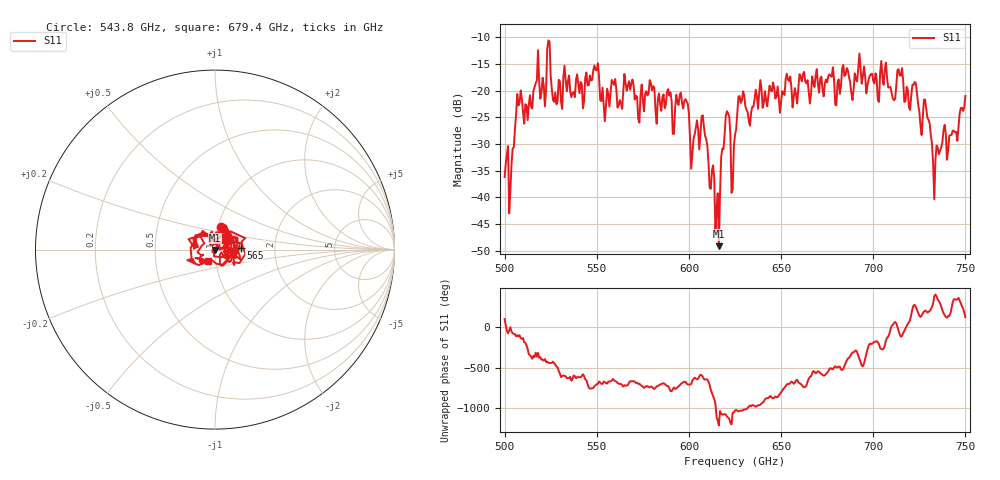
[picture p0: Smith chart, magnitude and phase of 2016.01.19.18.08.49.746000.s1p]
!Created with skrf (http://scikit-rf.org).
# GHz S RI R 50.0
!freq ReS11 ImS11
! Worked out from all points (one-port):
!   401 points, 500 GHz to 750 GHz, reference 50 ohm
!   lowest |S11| = -49.2 dB at 616.2 GHz (marker M1), VSWR 1.01, Z = 49.8 - j0.261 ohm
!   |S11| at or under -10 dB: start of sweep to end of sweep
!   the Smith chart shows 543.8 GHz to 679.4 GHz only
!   S11 on the Smith chart (normalised r, x): 543.8 GHz: 1.03, +0.27; 565 GHz: 1.33, +0.03; 679.4 GHz: 0.91, -0.11
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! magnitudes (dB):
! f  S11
! 500 GHz  -36.2
! 503.8 GHz  -33.8
! 508.1 GHz  -22.3
! 520.6 GHz  -17.6
! 523.8 GHz  -10.6
! 527.5 GHz  -20.4
! 531.2 GHz  -23.5
! 543.8 GHz  -17.6
! 549.4 GHz  -16.1
! 553.1 GHz  -19.5
! 562.5 GHz  -21.8
! 565 GHz  -16.9
! 593.8 GHz  -22.2
! 598.8 GHz  -22.1
! 601.9 GHz  -31.8
! 608.1 GHz  -26.8
! 616.2 GHz  -49.2
! 620.6 GHz  -23.9
! 625 GHz  -28.3
! 628.1 GHz  -22.3
! 656.2 GHz  -23.2
! 679.4 GHz  -22.6
! 687.5 GHz  -18.5
! 714.4 GHz  -17.2
! 718.8 GHz  -19.8
! 728.8 GHz  -23.4
! 733.8 GHz  -32.9
! 750 GHz  -21.0
